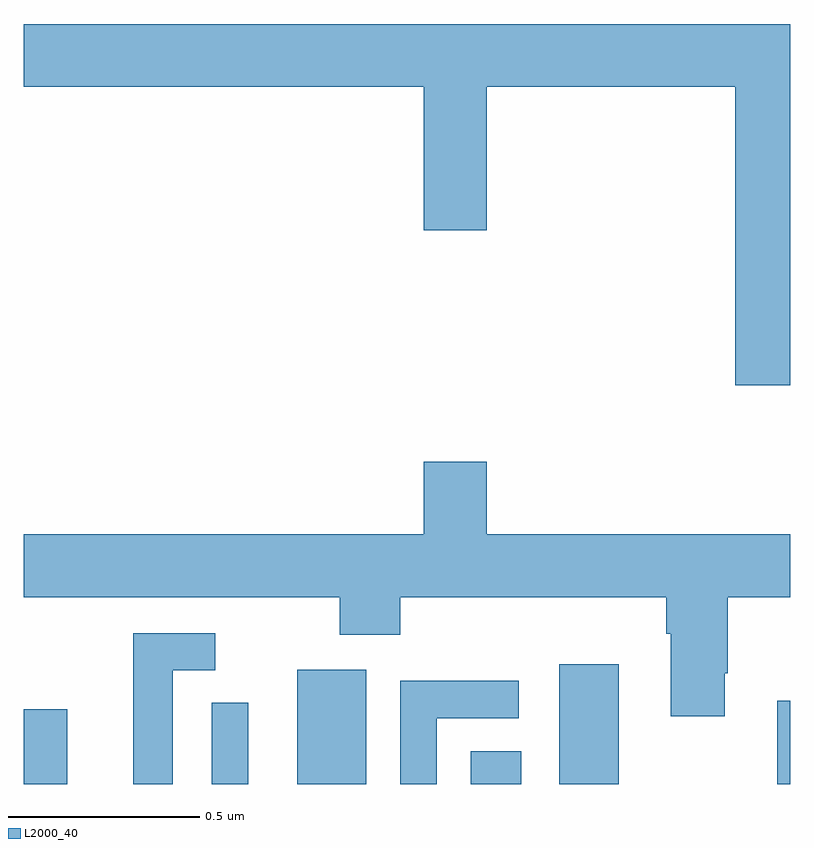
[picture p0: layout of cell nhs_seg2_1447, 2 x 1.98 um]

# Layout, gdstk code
import gdstk
lib = gdstk.Library(unit=1e-6, precision=1e-09)
def R(c, l, rs):  # rectangles x0, y0, x1, y1
    for r in rs: c.add(gdstk.rectangle(r[:2], r[2:], *l))
def P(c, l, *ps):  # polygons
    for p in ps: c.add(gdstk.Polygon(p, *l))
L2000_40 = (2000, 40)

nhs_seg2_1447 = lib.new_cell('nhs_seg2_1447')
R(nhs_seg2_1447, L2000_40, [(128,661.8,128.113,661.995), (128.714,661.8,128.893,662.098), (129.167,661.8,129.298,661.886), (129.398,661.8,129.553,662.113), (129.966,661.8,130,662.017)])
P(nhs_seg2_1447, L2000_40, [(130,663.784),(128,663.784),(128,663.62),(129.044,663.62),(129.044,663.246),(129.208,663.246),(129.208,663.62),(129.857,663.62),(129.857,662.841),(130,662.841)],
  [(129.829,662.089),(129.837,662.089),(129.837,662.288),(130,662.288),(130,662.452),(129.208,662.452),(129.208,662.641),(129.044,662.641),(129.044,662.452),(128,662.452),(128,662.288),(128.824,662.288),(128.824,662.189),(128.983,662.189),(128.983,662.288),(129.677,662.288),(129.677,662.192),(129.689,662.192),(129.689,661.977),(129.829,661.977)],
  [(128.389,662.097),(128.5,662.097),(128.5,662.193),(128.285,662.193),(128.285,661.8),(128.389,661.8)],
  [(129.078,661.971),(129.292,661.971),(129.292,662.07),(128.982,662.07),(128.982,661.8),(129.078,661.8)],
  [(128.585,661.858),(128.586,661.858),(128.586,662.012),(128.49,662.012),(128.49,661.8),(128.585,661.8)])

lib.write_gds('nhs_seg2_1447.gds')
